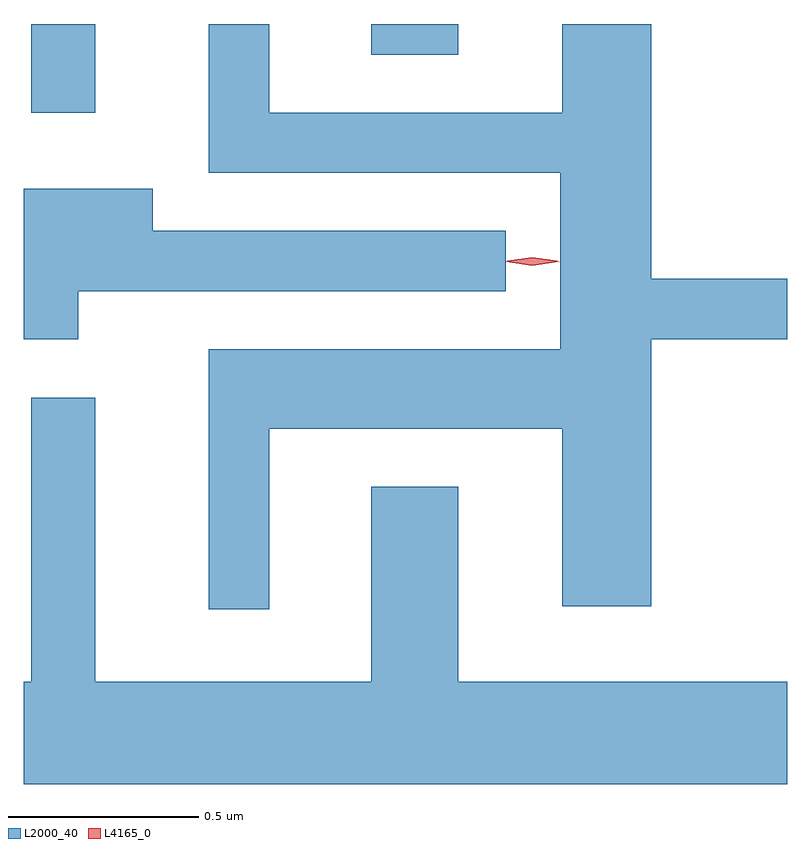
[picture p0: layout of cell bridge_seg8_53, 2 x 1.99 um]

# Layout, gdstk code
import gdstk
lib = gdstk.Library(unit=1e-6, precision=1e-09)
def R(c, l, rs):  # rectangles x0, y0, x1, y1
    for r in rs: c.add(gdstk.rectangle(r[:2], r[2:], *l))
def P(c, l, *ps):  # polygons
    for p in ps: c.add(gdstk.Polygon(p, *l))
L2000_40 = (2000, 40)
L4165_0 = (4165, 0)

bridge_seg8_53 = lib.new_cell('bridge_seg8_53')
R(bridge_seg8_53, L2000_40, [(1549.571,1906.993,1549.739,1907.226), (1550.461,1907.146,1550.689,1907.226)])
P(bridge_seg8_53, L2000_40, [(1550.194,1906.166),(1550.961,1906.166),(1550.961,1905.701),(1551.194,1905.701),(1551.194,1906.401),(1551.551,1906.401),(1551.551,1906.559),(1551.194,1906.559),(1551.194,1907.226),(1550.961,1907.226),(1550.961,1906.994),(1550.194,1906.994),(1550.194,1907.226),(1550.036,1907.226),(1550.036,1906.836),(1550.956,1906.836),(1550.956,1906.374),(1550.036,1906.374),(1550.036,1905.693),(1550.194,1905.693)],
  [(1549.694,1906.526),(1550.813,1906.526),(1550.813,1906.684),(1549.889,1906.684),(1549.889,1906.794),(1549.551,1906.794),(1549.551,1906.401),(1549.694,1906.401)],
  [(1551.551,1905.504),(1550.689,1905.504),(1550.689,1906.014),(1550.461,1906.014),(1550.461,1905.504),(1549.739,1905.504),(1549.739,1906.248),(1549.571,1906.248),(1549.571,1905.504),(1549.551,1905.504),(1549.551,1905.236),(1551.551,1905.236)])
P(bridge_seg8_53, L4165_0, [(1550.883,1906.595),(1550.818,1906.604),(1550.817,1906.605),(1550.818,1906.606),(1550.883,1906.615),(1550.948,1906.606),(1550.948,1906.605),(1550.948,1906.604)],
  [(1550.883,1906.593),(1550.814,1906.603),(1550.814,1906.603),(1550.814,1906.604),(1550.883,1906.613),(1550.952,1906.604),(1550.953,1906.603),(1550.952,1906.603)])

lib.write_gds('bridge_seg8_53.gds')
